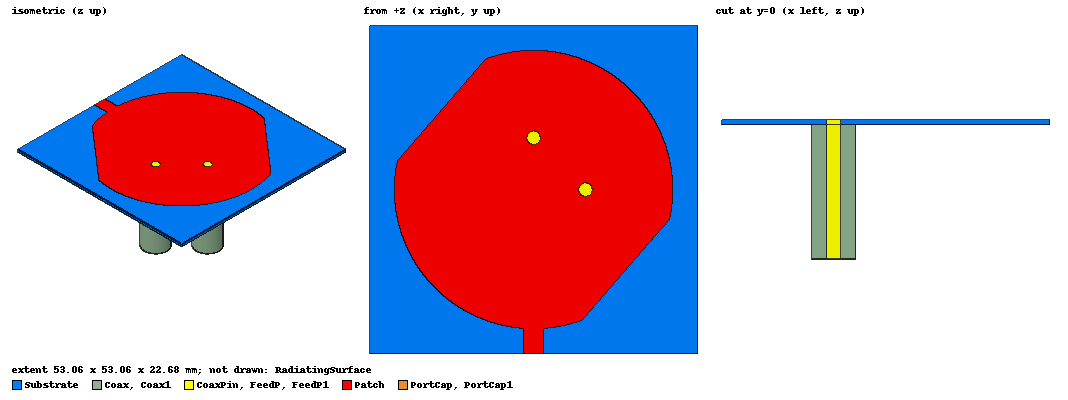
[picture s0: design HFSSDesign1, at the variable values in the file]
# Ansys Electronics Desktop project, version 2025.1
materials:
  vacuum: permittivity=1
  Isola FR408HR: permittivity=3.68 dielectric_loss_tangent=0.0092
  copper: permeability=0.999991 conductivity=58000000
  Teflon (tm): permittivity=2.1 dielectric_loss_tangent=0.001

design HFSSDesign1 (HFSS, HFSS Terminal Network, model units mm)
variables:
  h = 0.7874mm
  SL = (48*1.122559653*0.9848156182) mm
  a = (19.51994*1.122559653*0.9848156182) mm
  coax_x = 8.4mm
  outer_coax_rad = 3.6mm
  coax_len = 21.7mm
  patch_thickness = 0.035mm
  inner_coax_rad = 1.08mm
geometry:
  Substrate [Isola FR408HR] = box(corner=(-SL/2, -SL/2, 0mm), size=(SL, SL, h))
  Ground = rectangle(corner=(-SL/2, -SL/2, 0mm), x_size=SL, y_size=SL)
  Patch [copper] = circle(normal=Z, centre=(0mm, 0mm, h), radius=a*1.0434)
  Patch.thicken(0.035mm)
  Polyline1 = polyline(z=h, xy: (-20*1.122559653*0.9848156182mm, 4*1.122559653*0.9848156182mm) (-7*1.122559653*0.9848156182mm, 19*1.122559653*0.9848156182mm) (-19*1.122559653*0.9848156182mm, 18*1.122559653*0.9848156182mm) (-20*1.122559653*0.9848156182mm, 4*1.122559653*0.9848156182mm), closed, covered)
  Polyline1.thicken(0.035mm)
  Polyline1.move(0mm, 0.2mm, 0)
  Polyline2 = polyline(z=h, xy: (20*1.122559653*0.9848156182mm, -4*1.122559653*0.9848156182mm) (7*1.122559653*0.9848156182mm, -19*1.122559653*0.9848156182mm) (19*1.122559653*0.9848156182mm, -18*1.122559653*0.9848156182mm) (20*1.122559653*0.9848156182mm, -4*1.122559653*0.9848156182mm), closed, covered)
  Polyline2.thicken(0.035mm)
  Polyline2.move(0mm, -0.2mm, 0)
  Patch.subtract(Polyline1, Polyline2)
  Coax [Teflon (tm)] = cylinder(axis=Z, base_centre=(coax_x, 0mm, 0mm), radius=outer_coax_rad, height=-coax_len)
  CoaxPin [copper] = cylinder(axis=Z, base_centre=(coax_x, 0mm, 0mm), radius=inner_coax_rad, height=-coax_len)
  FeedPin = cylinder(axis=Z, base_centre=(coax_x, 0mm, 0mm), radius=inner_coax_rad, height=h+patch_thickness)
  PortCap [copper] = cylinder(axis=Z, base_centre=(coax_x, 0mm, -21.7mm), radius=outer_coax_rad, height=-0.1575mm)
  Circle1 = circle(normal=Z, centre=(coax_x, 0mm, 0mm), radius=outer_coax_rad)
  Ground.subtract(Circle1)
  FeedPin_1 = FeedPin.copy()
  Substrate.subtract(FeedPin_1)
  Patch.subtract(FeedPin)
  FeedP [copper] = cylinder(axis=Z, base_centre=(coax_x, 0mm, 0mm), radius=inner_coax_rad, height=h+patch_thickness)
  RadiatingSurface [vacuum] = region(absolute_offset=43.383948mm on all sides)
  Port2 = circle(normal=Z, centre=(coax_x, 0mm, -21.8575mm), radius=3.6mm)
  Coax1 [Teflon (tm)] = cylinder(axis=Z, base_centre=(0, coax_x, 0mm), radius=outer_coax_rad, height=-coax_len)
  CoaxPin1 [copper] = cylinder(axis=Z, base_centre=(0, coax_x, 0mm), radius=1.08mm, height=-coax_len)
  PortCap1 [copper] = cylinder(axis=Z, base_centre=(0, coax_x, -21.7mm), radius=outer_coax_rad, height=-0.1575mm)
  FeedP1 [copper] = cylinder(axis=Z, base_centre=(0, coax_x, 0mm), radius=inner_coax_rad, height=h+patch_thickness)
  FeedPin1 = cylinder(axis=Z, base_centre=(0, coax_x, 0mm), radius=inner_coax_rad, height=h+patch_thickness)
  Patch.subtract(FeedPin1)
  Circle2 = circle(normal=Z, centre=(0, coax_x, 0mm), radius=outer_coax_rad)
  Ground.subtract(Circle2)
  Port3 = circle(normal=Z, centre=(0, coax_x, -21.8575mm), radius=3.6mm)
  FeedPin2 = cylinder(axis=Z, base_centre=(0, coax_x, 0mm), radius=1.08mm, height=h+patch_thickness)
  FeedPin_2 = FeedPin2.copy()
  FeedPin2.delete()
  Substrate.subtract(FeedPin_2)
  Box2 = box(corner=(-1.5*1.122559653*0.9848156182mm, -24*1.122559653*0.9848156182mm, h), size=((3*1.122559653*0.9848156182) mm, (5.5*1.122559653*0.9848156182) mm, patch_thickness))
  Patch.unite(Box2)
  Port1 = rectangle(corner=((-1.5*1.122559653*0.9848156182) mm, (-24*1.122559653*0.9848156182) mm, 0.7874mm), z_size=-0.7874mm, x_size=(3*1.122559653*0.9848156182) mm)
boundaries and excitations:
  Ground: Perfect E Objects=Ground
  Patch: Perfect E Objects=Patch
  OuterCoax: Perfect E Objects=Coax
  Open1: Radiation Objects=RadiatingSurface
  OuterCoax1: Perfect E Objects=Coax1
  coax1: Wave Port Objects=Port2 WavePortType=Modal NumModes=1 Modes{Mode1{IntLine{(8.4, 0, -21.8575) -> (12, 0, -21.8575)} CharImp=Zpi RenormImp=50ohm}}
  coax2: Wave Port Objects=Port3 WavePortType=Modal NumModes=1 Modes{Mode1{IntLine{(0, 8.4, -21.8575) -> (3.6, 8.4, -21.8575)} CharImp=Zpi RenormImp=50ohm}}
  1: Lumped Port Objects=Port1 LumpedPortType=Modal Modes{Mode1{IntLine{(0, -26.532343, 0) -> (0, -26.532343, 0.7874)} CharImp=Zpi}} Impedance=50ohm
  reference conductors: PortCap
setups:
  Setup1: HfssDriven Frequency=2.305GHz MaxDeltaS=0.02 MaximumPasses=6 MinimumPasses=1 MinimumConvergedPasses=1 PercentRefinement=30 BasisOrder=1 PortAccuracy=2 DrivenSolverType="Direct Solver"
    sweep Sweep: 1.1525GHz to 3.4575GHz, 401 points; Type=Interpolating InterpTolerance=0.5 InterpMaxSolns=250 PassivityErrorTolerance=0.0001
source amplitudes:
  coax1:1, coax2:1, 1:1: 1V 0deg
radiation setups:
  3D: Infinite Sphere Theta=-180deg..180deg step 2deg Phi=-180deg..180deg step 2deg
  Elevation: Infinite Sphere Theta=-180deg..180deg step 1deg Phi=0deg..90deg step 90deg
  Azimuth: Infinite Sphere Theta=90deg..90deg step 0deg Phi=-180deg..180deg step 1deg
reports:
  S Parameter Plot1: dB(S(1,1)) vs Freq on Setup1 : Sweep
  Gain Plot1: dB(GainTotal) vs Phi, Theta on Setup1 : LastAdaptive, 3D [Freq=2.305GHz]
  Gain Plot3: dB(GainTotal) vs Theta on Setup1 : LastAdaptive, 3D [Phi=0deg Freq=2.305GHz]
  Axial Ratio Plot1: dB(AxialRatioValue) vs Theta on Setup1 : LastAdaptive, 3D [Phi=0deg Freq=2.305GHz coax_x=all]
